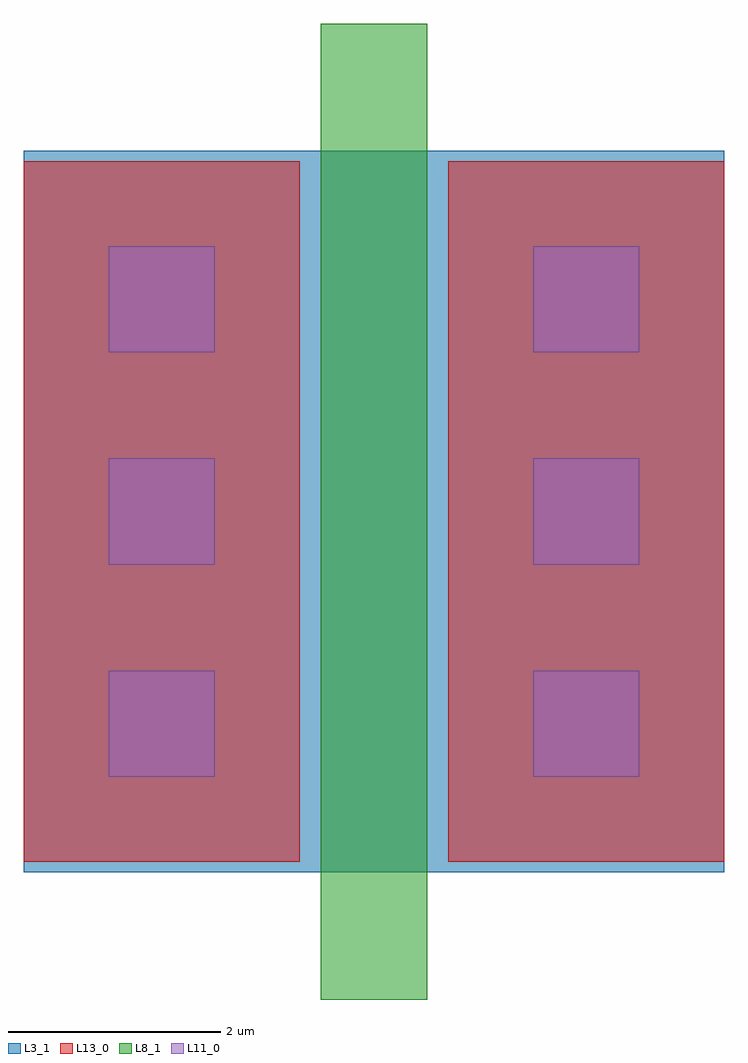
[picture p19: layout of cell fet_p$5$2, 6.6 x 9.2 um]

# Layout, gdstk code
import gdstk
lib = gdstk.Library(unit=1e-6, precision=1e-07)
def R(c, l, rs):  # rectangles x0, y0, x1, y1
    for r in rs: c.add(gdstk.rectangle(r[:2], r[2:], *l))
def A(c, l, x, y, w, h, nx, ny, dx, dy):  # array of equal rectangles
    R(c, l, [(x+i*dx, y+j*dy, x+i*dx+w, y+j*dy+h) for i in range(nx) for j in range(ny)])
L3_1 = (3, 1)
L8_1 = (8, 1)
L11_0 = (11, 0)
L13_0 = (13, 0)

fet_p_5_2 = lib.new_cell('fet_p$5$2')
R(fet_p_5_2, L3_1, [(-3.3,-3.4,3.3,3.4)])
A(fet_p_5_2, L11_0, -2.5, -2.5, 1, 1, 1, 3, 0, 2)
A(fet_p_5_2, L11_0, 1.5, -2.5, 1, 1, 1, 3, 0, 2)
R(fet_p_5_2, L13_0, [(-3.3,-3.3,-0.7,3.3), (0.7,-3.3,3.3,3.3)])
fet_p_5_2.add(gdstk.FlexPath([(0,-4.6),(0,4.6)], 1, ends="flush", simple_path=True, layer=8, datatype=1))  # L8_1

lib.write_gds('fet_p_5_2.gds')
